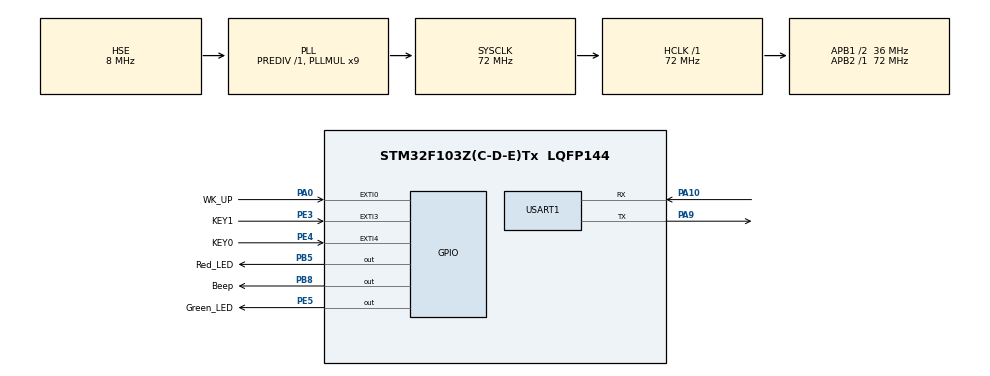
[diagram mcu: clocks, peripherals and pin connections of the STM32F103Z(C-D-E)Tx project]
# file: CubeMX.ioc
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Mcu.Family=STM32F1
Mcu.Name=STM32F103Z(C-D-E)Tx
Mcu.Package=LQFP144
NVIC.PriorityGroup=NVIC_PRIORITYGROUP_2
NVIC.USART1_IRQn=true\:2\:2\:true\:false\:true\:true\:true\:true
OSC_IN.Mode=HSE-External-Oscillator
OSC_IN.Signal=RCC_OSC_IN
OSC_OUT.Mode=HSE-External-Oscillator
OSC_OUT.Signal=RCC_OSC_OUT
PA0-WKUP.GPIO_Label=WK_UP
PA0-WKUP.GPIO_PuPd=GPIO_PULLDOWN
PA0-WKUP.Signal=GPXTI0
PA10.Mode=Asynchronous
PA10.Signal=USART1_RX
PA13.Mode=Serial_Wire
PA13.Signal=SYS_JTMS-SWDIO
PA14.Mode=Serial_Wire
PA14.Signal=SYS_JTCK-SWCLK
PA9.Mode=Asynchronous
PA9.Signal=USART1_TX
PB5.GPIO_Label=Red_LED
PB5.GPIO_PuPd=GPIO_PULLUP
PB5.GPIO_Speed=GPIO_SPEED_FREQ_HIGH
PB5.PinState=GPIO_PIN_SET
PB5.Signal=GPIO_Output
PB8.GPIO_Label=Beep
PB8.GPIO_PuPd=GPIO_PULLDOWN
PB8.GPIO_Speed=GPIO_SPEED_FREQ_HIGH
PB8.Signal=GPIO_Output
PC14-OSC32_IN.Mode=LSE-External-Oscillator
PC14-OSC32_IN.Signal=RCC_OSC32_IN
PC15-OSC32_OUT.Mode=LSE-External-Oscillator
PC15-OSC32_OUT.Signal=RCC_OSC32_OUT
PE3.GPIO_Label=KEY1
PE3.GPIO_ModeDefaultEXTI=GPIO_MODE_IT_FALLING
PE3.GPIO_PuPd=GPIO_PULLUP
PE3.Signal=GPXTI3
PE4.GPIO_Label=KEY0
PE4.GPIO_ModeDefaultEXTI=GPIO_MODE_IT_FALLING
PE4.GPIO_PuPd=GPIO_PULLUP
PE4.Signal=GPXTI4
PE5.GPIO_Label=Green_LED
PE5.GPIO_PuPd=GPIO_PULLUP
PE5.GPIO_Speed=GPIO_SPEED_FREQ_HIGH
PE5.PinState=GPIO_PIN_SET
PE5.Signal=GPIO_Output
ProjectManager.HeapSize=0x200
ProjectManager.StackSize=0x400
ProjectManager.TargetToolchain=MDK-ARM V5.32
RCC.AHBFreq_Value=72000000
RCC.APB1CLKDivider=RCC_HCLK_DIV2
RCC.APB1Freq_Value=36000000
RCC.APB1TimFreq_Value=72000000
RCC.APB2Freq_Value=72000000
RCC.APB2TimFreq_Value=72000000
RCC.HCLKFreq_Value=72000000
RCC.PLLMUL=RCC_PLL_MUL9
RCC.PLLSourceVirtual=RCC_PLLSOURCE_HSE
RCC.SYSCLKFreq_VALUE=72000000
RCC.SYSCLKSource=RCC_SYSCLKSOURCE_PLLCLK
RCC.USBFreq_Value=72000000
USART1.VirtualMode=VM_ASYNC
board=custom

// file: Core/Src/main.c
 /* USER CODE BEGIN Header */
/**
  ******************************************************************************
  * @file           : main.c
  * @brief          : Main program body
  ******************************************************************************
  * @attention
  *
  * Copyright (c) 2025 STMicroelectronics.
  * All rights reserved.
  *
  * This software is licensed under terms that can be found in the LICENSE file
  * in the root directory of this software component.
  * If no LICENSE file comes with this software, it is provided AS-IS.
  *
  ******************************************************************************
  */
/* USER CODE END Header */
#include "main.h"
#include "usart.h"
#include "gpio.h"

/* USER CODE BEGIN Includes */
#include "circle_buffer.h"
/* USER CODE END Includes */

static char c;

void SystemClock_Config(void);

/* USER CODE BEGIN 0 */
void usart_test()
{
  HAL_UART_Transmit_IT(&huart1, str2, strlen(str2));
  Wait_Tx_Complete();

  while (Get_Uart1_Char(&c) != 0);
  c = c+1;
  HAL_UART_Transmit(&huart1, &c, 1, 1000);
  HAL_UART_Transmit(&huart1, "\r\n", 2, 1000);

  HAL_GPIO_WritePin(Beep_GPIO_Port, Beep_Pin, GPIO_PIN_SET);
  HAL_Delay(500);
  HAL_GPIO_WritePin(Beep_GPIO_Port, Beep_Pin, GPIO_PIN_RESET);
}

/* USER CODE END 0 */

int main(void)
{
  /* USER CODE BEGIN 1 */
	uint8_t len;
	char *str = "uart circle_buffer test\r\n";
	char *str2 = "Please enter a char: \r\n";
//	char c;
  /* USER CODE END 1 */

  /* MCU Configuration--------------------------------------------------------*/

  /* Reset of all peripherals, Initializes the Flash interface and the Systick. */
  HAL_Init();

  /* Configure the system clock */
  SystemClock_Config();

  /* Initialize all configured peripherals */
  MX_GPIO_Init();
  MX_USART1_UART_Init();

  /* Infinite loop */
  /* USER CODE BEGIN WHILE */

  HAL_UART_Transmit(&huart1, str, strlen(str), 1000);//串口发送字符串
  Start_Uart1_Recv();//开始接收数据

  while (1)
  {

    /* USER CODE END WHILE */

  }
}

void SystemClock_Config(void)
{
  RCC_OscInitTypeDef RCC_OscInitStruct = {0};
  RCC_ClkInitTypeDef RCC_ClkInitStruct = {0};

  /** Initializes the RCC Oscillators according to the specified parameters
  * in the RCC_OscInitTypeDef structure.
  */
  RCC_OscInitStruct.OscillatorType = RCC_OSCILLATORTYPE_HSE;
  RCC_OscInitStruct.HSEState = RCC_HSE_ON;
  RCC_OscInitStruct.HSEPredivValue = RCC_HSE_PREDIV_DIV1;
  RCC_OscInitStruct.HSIState = RCC_HSI_ON;
  RCC_OscInitStruct.PLL.PLLState = RCC_PLL_ON;
  RCC_OscInitStruct.PLL.PLLSource = RCC_PLLSOURCE_HSE;
  RCC_OscInitStruct.PLL.PLLMUL = RCC_PLL_MUL9;
  if (HAL_RCC_OscConfig(&RCC_OscInitStruct) != HAL_OK)
  {
    Error_Handler();
  }

  /** Initializes the CPU, AHB and APB buses clocks
  */
  RCC_ClkInitStruct.ClockType = RCC_CLOCKTYPE_HCLK|RCC_CLOCKTYPE_SYSCLK
                              |RCC_CLOCKTYPE_PCLK1|RCC_CLOCKTYPE_PCLK2;
  RCC_ClkInitStruct.SYSCLKSource = RCC_SYSCLKSOURCE_PLLCLK;
  RCC_ClkInitStruct.AHBCLKDivider = RCC_SYSCLK_DIV1;
  RCC_ClkInitStruct.APB1CLKDivider = RCC_HCLK_DIV2;
  RCC_ClkInitStruct.APB2CLKDivider = RCC_HCLK_DIV1;

  if (HAL_RCC_ClockConfig(&RCC_ClkInitStruct, FLASH_LATENCY_2) != HAL_OK)
  {
    Error_Handler();
  }
}

void Error_Handler(void)
{
  __disable_irq();
  while (1)
  {
  }
}
